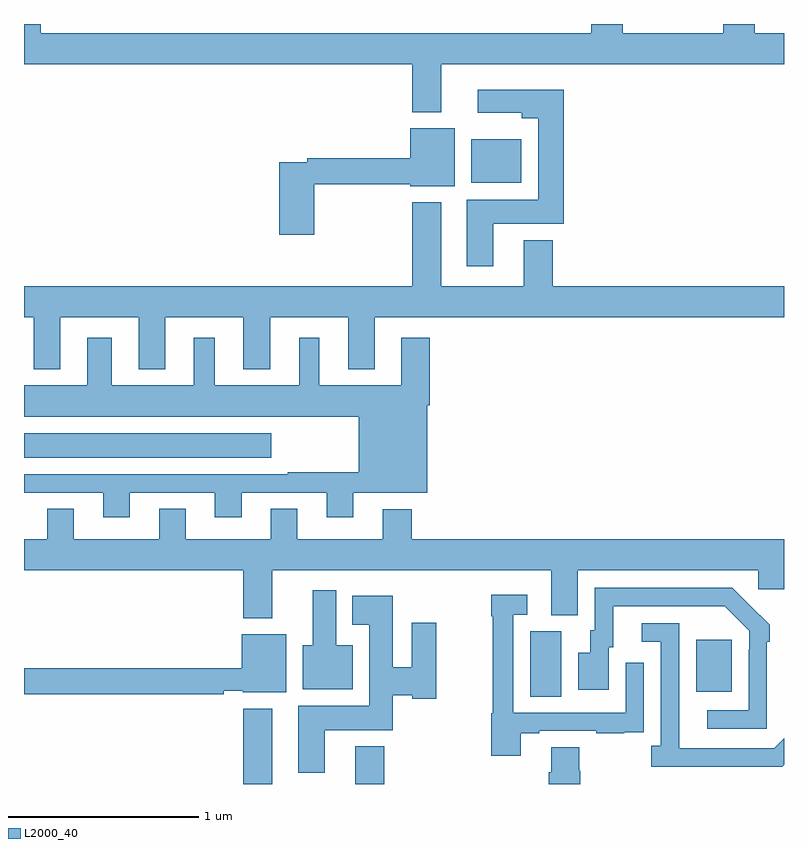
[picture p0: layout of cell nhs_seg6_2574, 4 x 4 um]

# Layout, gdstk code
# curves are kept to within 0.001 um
import gdstk
lib = gdstk.Library(unit=1e-6, precision=1e-09)
def R(c, l, rs):  # rectangles x0, y0, x1, y1
    for r in rs: c.add(gdstk.rectangle(r[:2], r[2:], *l))
def P(c, l, *ps):  # polygons
    for p in ps: c.add(gdstk.Polygon(p, *l))
L2000_40 = (2000, 40)

nhs_seg6_2574 = lib.new_cell('nhs_seg6_2574')
R(nhs_seg6_2574, L2000_40, [(264.155,991.5,264.307,991.897), (264.743,991.5,264.896,991.699), (265.664,991.96,265.828,992.304), (266.537,991.985,266.725,992.26), (263,993.218,264.301,993.346), (265.355,994.664,265.618,994.894)])
P(nhs_seg6_2574, L2000_40, [(267,995.452),(266.846,995.452),(266.846,995.5),(266.681,995.5),(266.681,995.452),(266.15,995.452),(266.15,995.5),(265.985,995.5),(265.985,995.452),(263.087,995.452),(263.087,995.5),(263,995.5),(263,995.288),(265.043,995.288),(265.043,995.036),(265.195,995.036),(265.195,995.288),(267,995.288)],
  [(265.471,994.448),(265.841,994.448),(265.841,995.155),(265.389,995.155),(265.389,995.033),(265.619,995.033),(265.619,995.003),(265.706,995.003),(265.706,994.576),(265.331,994.576),(265.331,994.224),(265.471,994.224)],
  [(264.527,994.657),(265.034,994.657),(265.034,994.646),(265.267,994.646),(265.267,994.951),(265.034,994.951),(265.034,994.793),(264.49,994.793),(264.49,994.773),(264.344,994.773),(264.344,994.392),(264.527,994.392)],
  [(263.191,993.956),(263.603,993.956),(263.603,993.683),(263.743,993.683),(263.743,993.956),(264.155,993.956),(264.155,993.683),(264.295,993.683),(264.295,993.956),(264.707,993.956),(264.707,993.683),(264.847,993.683),(264.847,993.956),(267,993.956),(267,994.12),(265.784,994.12),(265.784,994.363),(265.631,994.363),(265.631,994.12),(265.195,994.12),(265.195,994.561),(265.043,994.561),(265.043,994.12),(263,994.12),(263,993.956),(263.051,993.956),(263.051,993.683),(263.191,993.683)],
  [(263.557,993.033),(264.005,993.033),(264.005,992.904),(264.145,992.904),(264.145,993.033),(264.593,993.033),(264.593,992.904),(264.733,992.904),(264.733,993.032),(265.123,993.032),(265.123,993.494),(265.136,993.494),(265.136,993.85),(264.986,993.85),(264.986,993.598),(264.553,993.598),(264.553,993.85),(264.449,993.85),(264.449,993.598),(264.004,993.598),(264.004,993.85),(263.894,993.85),(263.894,993.598),(263.461,993.598),(263.461,993.85),(263.333,993.85),(263.333,993.598),(263,993.598),(263,993.434),(264.761,993.434),(264.761,993.142),(264.388,993.142),(264.388,993.129),(263,993.129),(263,993.033),(263.417,993.033),(263.417,992.904),(263.557,992.904)],
  [(263.711,992.948),(263.711,992.788),(263.263,992.788),(263.263,992.948),(263.123,992.948),(263.123,992.788),(263,992.788),(263,992.624),(264.155,992.624),(264.155,992.372),(264.307,992.372),(264.307,992.624),(265.775,992.624),(265.775,992.389),(265.915,992.389),(265.915,992.624),(266.865,992.624),(266.865,992.526),(267,992.526),(267,992.788),(265.04,992.788),(265.04,992.947),(264.887,992.947),(264.887,992.788),(264.439,992.788),(264.439,992.948),(264.299,992.948),(264.299,992.788),(263.851,992.788),(263.851,992.948)],
  [(266.91,992.249),(266.925,992.249),(266.925,992.337),(266.728,992.532),(266.004,992.532),(266.004,992.31),(265.979,992.31),(265.979,992.191),(265.916,992.191),(265.916,991.995),(266.077,991.995),(266.077,992.22),(266.101,992.22),(266.101,992.436),(266.689,992.436),(266.817,992.307),(266.817,992.207),(266.814,992.207),(266.814,991.887),(266.595,991.887),(266.595,991.791),(266.91,991.791)],
  [(264.73,992.23),(264.643,992.23),(264.643,992.521),(264.521,992.521),(264.521,992.23),(264.467,992.23),(264.467,992),(264.73,992)],
  [(265.615,991.767),(265.711,991.767),(265.711,991.779),(266.011,991.779),(266.011,991.767),(266.159,991.767),(266.159,991.773),(266.261,991.773),(266.261,991.882),(266.262,991.882),(266.262,992.137),(266.166,992.137),(266.166,991.875),(265.575,991.875),(265.575,992.391),(265.648,992.391),(265.648,992.497),(265.459,992.497),(265.459,992.384),(265.467,992.384),(265.467,991.872),(265.459,991.872),(265.459,991.65),(265.615,991.65)],
  [(264.583,991.784),(264.94,991.784),(264.94,991.967),(265.044,991.967),(265.044,991.949),(265.17,991.949),(265.17,992.35),(265.04,992.35),(265.04,992.114),(264.94,992.114),(264.94,992.491),(264.728,992.491),(264.728,992.339),(264.818,992.339),(264.818,991.912),(264.443,991.912),(264.443,991.56),(264.583,991.56)],
  [(267,991.602),(267,991.74),(266.949,991.689),(266.449,991.689),(266.448,992.346),(266.25,992.346),(266.25,992.25),(266.352,992.25),(266.352,991.702),(266.301,991.702),(266.301,991.592),(266.99,991.592)],
  [(264.05,991.992),(264.15,991.992),(264.15,991.982),(264.379,991.982),(264.379,992.287),(264.146,992.287),(264.146,992.108),(263,992.108),(263,991.972),(264.05,991.972)],
  [(265.928,991.569),(265.923,991.569),(265.923,991.694),(265.775,991.694),(265.775,991.562),(265.763,991.562),(265.763,991.5),(265.928,991.5)])

lib.write_gds('nhs_seg6_2574.gds')
